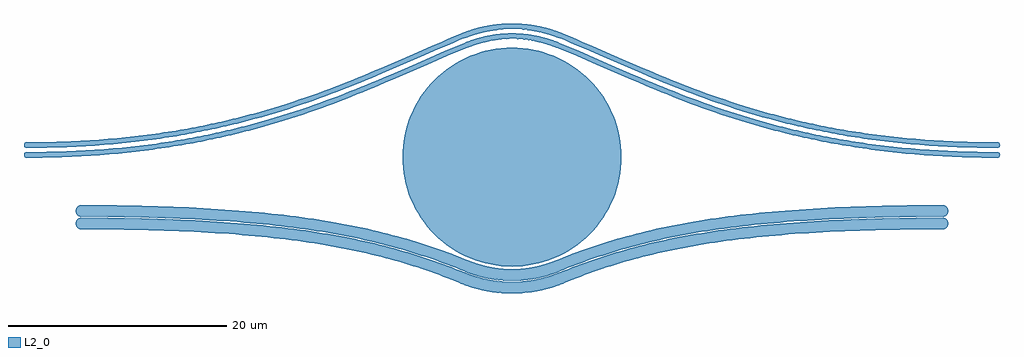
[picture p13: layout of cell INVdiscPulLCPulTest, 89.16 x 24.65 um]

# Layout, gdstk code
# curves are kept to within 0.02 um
import gdstk
lib = gdstk.Library(unit=1e-6, precision=1e-09)
def P(c, l, *ps):  # polygons
    for p in ps: c.add(gdstk.Polygon(p, *l))
L2_0 = (2, 0)

invdiscpullcpultest = lib.new_cell('INVdiscPulLCPulTest')
P(invdiscpullcpultest, L2_0, [(10,10),(9.02,10.048),(8.049,10.192),(7.097,10.431),(6.173,10.761),(5.286,11.181),(4.444,11.685),(3.656,12.27),(2.929,12.929),(2.27,13.656),(1.685,14.444),(1.181,15.286),(0.761,16.173),(0.431,17.097),(0.192,18.049),(0.048,19.02),(0,20),(0.048,20.98),(0.192,21.951),(0.431,22.903),(0.761,23.827),(1.181,24.714),(1.685,25.556),(2.27,26.344),(2.929,27.071),(3.656,27.73),(4.444,28.315),(5.286,28.819),(6.173,29.239),(7.097,29.569),(8.049,29.808),(9.02,29.952),(10,30),(10.98,29.952),(11.951,29.808),(12.903,29.569),(13.827,29.239),(14.714,28.819),(15.556,28.315),(16.344,27.73),(17.071,27.071),(17.73,26.344),(18.315,25.556),(18.819,24.714),(19.239,23.827),(19.569,22.903),(19.808,21.951),(19.952,20.98),(20,20),(19.952,19.02),(19.808,18.049),(19.569,17.097),(19.239,16.173),(18.819,15.286),(18.315,14.444),(17.73,13.656),(17.071,12.929),(16.344,12.27),(15.556,11.685),(14.714,11.181),(13.827,10.761),(12.903,10.431),(11.951,10.192),(10.98,10.048)],
  [(-34.331,19.953),(-34.331,20.453),(-31.578,20.493),(-28.946,20.608),(-26.429,20.793),(-24.022,21.044),(-21.719,21.354),(-19.158,21.785),(-16.722,22.283),(-14.405,22.839),(-12.197,23.445),(-10.385,23.998),(-8.075,24.774),(-6.416,25.379),(-2.754,26.835),(4.374,29.9),(6.238,30.656),(7.188,30.945),(8.092,31.138),(8.872,31.244),(9.897,31.3),(10.855,31.268),(11.807,31.155),(12.812,30.945),(13.762,30.656),(15.626,29.9),(22.754,26.835),(26.416,25.379),(28.642,24.577),(30.981,23.81),(32.817,23.267),(35.056,22.674),(37.406,22.134),(39.516,21.719),(42.096,21.298),(44.416,20.997),(46.841,20.758),(49.377,20.584),(52.028,20.481),(54.331,20.453),(54.331,19.953),(50.675,20.023),(48.499,20.134),(46.815,20.258),(43.986,20.545),(41.298,20.913),(38.39,21.424),(35.644,22.019),(33.683,22.513),(31.495,23.134),(29.113,23.892),(26.848,24.689),(24.687,25.514),(22.616,26.354),(15.902,29.24),(13.533,30.206),(12.751,30.444),(11.759,30.656),(10.85,30.767),(9.902,30.8),(8.889,30.743),(8.112,30.634),(7.249,30.444),(6.467,30.206),(4.098,29.24),(-2.616,26.354),(-6.299,24.893),(-8.537,24.088),(-10.888,23.319),(-12.733,22.774),(-14.981,22.18),(-17.342,21.638),(-19.461,21.222),(-22.052,20.8),(-24.381,20.499),(-26.815,20.258),(-29.36,20.084),(-32.021,19.981)],
  [(-34.331,20.853),(-34.331,21.353),(-31.593,21.393),(-28.976,21.507),(-26.474,21.692),(-24.081,21.942),(-21.794,22.251),(-19.605,22.615),(-17.17,23.102),(-14.854,23.648),(-12.958,24.157),(-10.546,24.885),(-8.818,25.461),(-6.612,26.26),(-2.986,27.707),(3.618,30.556),(6.009,31.529),(6.893,31.798),(7.903,32.019),(8.893,32.15),(9.926,32.2),(10.886,32.168),(11.878,32.055),(12.857,31.861),(13.921,31.553),(15.932,30.747),(23.488,27.498),(27.154,26.057),(29.387,25.266),(31.137,24.698),(33.581,23.984),(35.504,23.487),(37.853,22.957),(39.963,22.551),(42.168,22.196),(44.473,21.896),(46.883,21.657),(49.404,21.483),(52.041,21.381),(54.331,21.353),(54.331,20.853),(50.695,20.923),(48.957,21.008),(46.857,21.157),(44.045,21.443),(41.375,21.811),(38.84,22.251),(36.094,22.834),(33.816,23.405),(31.645,24.023),(29.285,24.777),(27.04,25.57),(23.353,27.016),(16.205,30.089),(13.794,31.068),(12.877,31.341),(11.906,31.544),(10.921,31.664),(9.894,31.7),(8.938,31.652),(7.954,31.52),(7.054,31.323),(6.139,31.045),(3.795,30.089),(-2.849,27.226),(-6.496,25.773),(-8.713,24.972),(-11.044,24.207),(-12.873,23.664),(-15.104,23.072),(-17.447,22.533),(-19.551,22.118),(-21.748,21.753),(-24.438,21.397),(-26.857,21.157),(-29.387,20.984),(-32.033,20.881)],
  [(54.331,20.853),(54.331,21.353),(54.428,21.334),(54.507,21.28),(54.561,21.201),(54.581,21.103),(54.561,21.006),(54.507,20.927),(54.428,20.873)],
  [(-34.331,20.853),(-34.428,20.873),(-34.507,20.927),(-34.561,21.006),(-34.581,21.103),(-34.561,21.201),(-34.507,21.28),(-34.428,21.334),(-34.331,21.353)],
  [(54.331,19.953),(54.331,20.453),(54.428,20.434),(54.507,20.38),(54.561,20.301),(54.581,20.203),(54.561,20.106),(54.507,20.027),(54.428,19.973)],
  [(-34.331,19.953),(-34.428,19.973),(-34.507,20.027),(-34.561,20.106),(-34.581,20.203),(-34.561,20.301),(-34.507,20.38),(-34.428,20.434),(-34.331,20.453)],
  [(49.328,13.407),(49.328,14.457),(49.532,14.416),(49.699,14.304),(49.811,14.137),(49.853,13.932),(49.811,13.728),(49.699,13.561),(49.532,13.449)],
  [(10,7.55),(9.236,7.573),(8.437,7.648),(7.607,7.782),(6.899,7.942),(5.731,8.305),(3.731,9.092),(2.171,9.654),(0.971,10.049),(-0.678,10.541),(-2.393,10.993),(-4.184,11.406),(-6.061,11.78),(-7.531,12.035),(-9.583,12.34),(-12.31,12.668),(-14.634,12.886),(-17.095,13.066),(-19.704,13.208),(-22.471,13.312),(-26.167,13.389),(-29.381,13.41),(-29.578,13.471),(-29.733,13.598),(-29.842,13.827),(-29.842,14.038),(-29.789,14.183),(-29.662,14.338),(-29.484,14.434),(-29.328,14.457),(-29.328,13.407),(-29.328,14.457),(-28.514,14.456),(-23.137,14.381),(-18.284,14.188),(-13.899,13.876),(-11.583,13.644),(-9.391,13.373),(-7.314,13.062),(-5.825,12.803),(-3.924,12.423),(-2.108,12.004),(0.055,11.423),(2.121,10.779),(3.715,10.219),(6.091,9.291),(6.958,9.013),(7.74,8.826),(8.5,8.699),(9.301,8.621),(10.105,8.6),(10.909,8.636),(11.639,8.718),(12.362,8.847),(13.11,9.032),(13.909,9.291),(16.285,10.219),(17.879,10.779),(19.945,11.423),(22.108,12.004),(23.462,12.322),(25.341,12.712),(28.339,13.222),(30.472,13.513),(32.725,13.765),(35.107,13.977),(37.63,14.15),(40.303,14.285),(43.137,14.381),(46.142,14.438),(49.328,14.457),(49.328,13.407),(46.167,13.389),(42.471,13.312),(39.704,13.208),(36.466,13.025),(33.455,12.782),(31.196,12.544),(28.543,12.192),(26.544,11.867),(25.111,11.598),(23.278,11.204),(21.958,10.884),(20.26,10.421),(17.829,9.654),(16.269,9.092),(14.269,8.305),(13.101,7.942),(12.393,7.782),(11.563,7.648),(10.764,7.573)],
  [(10,8.7),(9.272,8.723),(8.582,8.789),(7.93,8.891),(7.185,9.056),(6.191,9.361),(4.125,10.172),(2.54,10.743),(0.907,11.273),(-0.355,11.644),(-2.096,12.104),(-3.913,12.523),(-5.332,12.812),(-7.306,13.162),(-9.385,13.472),(-11.578,13.744),(-13.896,13.976),(-16.983,14.211),(-20.302,14.385),(-23.136,14.481),(-29.381,14.56),(-29.578,14.621),(-29.733,14.748),(-29.842,14.977),(-29.842,15.188),(-29.789,15.333),(-29.662,15.488),(-29.484,15.584),(-29.328,15.607),(-29.328,14.557),(-29.328,15.607),(-28.507,15.606),(-23.084,15.53),(-18.185,15.333),(-15.599,15.167),(-13.156,14.961),(-9.192,14.505),(-7.604,14.272),(-5.58,13.926),(-3.651,13.54),(-1.81,13.114),(0.387,12.524),(2.485,11.87),(4.504,11.152),(6.486,10.371),(7.234,10.13),(7.968,9.953),(8.62,9.843),(9.402,9.767),(10.094,9.75),(10.786,9.78),(11.505,9.861),(12.155,9.979),(12.826,10.147),(13.544,10.382),(15.496,11.152),(17.515,11.87),(19.613,12.524),(21.361,13.001),(22.72,13.332),(24.604,13.738),(26.579,14.104),(28.127,14.352),(30.286,14.648),(32.566,14.903),(34.975,15.119),(37.524,15.295),(40.224,15.432),(43.084,15.53),(46.115,15.588),(49.328,15.607),(49.328,14.557),(45.374,14.528),(42.412,14.46),(39.619,14.355),(36.348,14.168),(33.896,13.976),(31.018,13.68),(28.855,13.399),(26.307,12.992),(24.38,12.622),(22.994,12.318),(21.217,11.879),(19.93,11.523),(18.679,11.144),(17.059,10.604),(15.484,10.023),(13.842,9.373),(12.815,9.056),(12.07,8.891),(11.418,8.789),(10.728,8.723)],
  [(49.328,14.557),(49.328,15.607),(49.532,15.566),(49.699,15.454),(49.811,15.287),(49.853,15.082),(49.811,14.878),(49.699,14.711),(49.532,14.599)])

lib.write_gds('INVdiscPulLCPulTest.gds')
